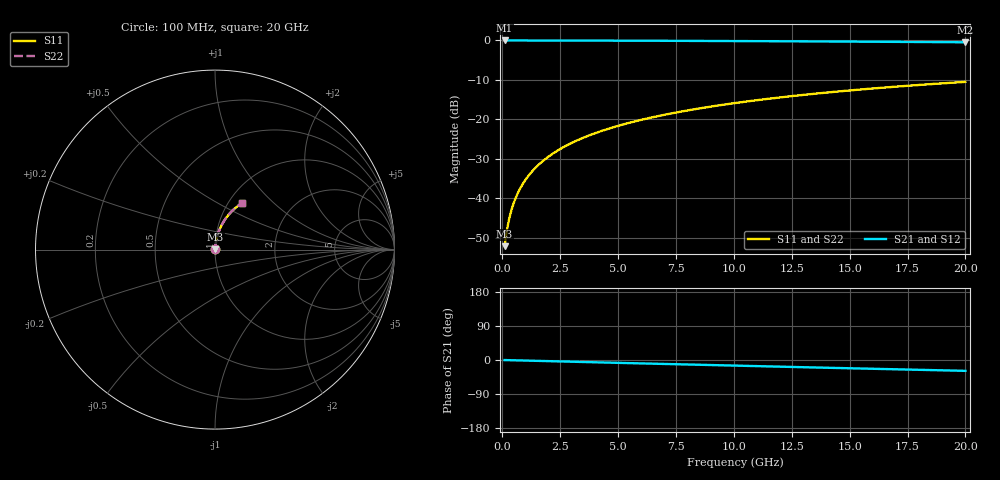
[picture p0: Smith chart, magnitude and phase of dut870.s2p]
! Touchstone file exported from HFSS 2026.1.0
!  File:  C:/ffzhzh/LocalFiles/Ansys_Project_Files/temp_train_TMRDL_870_1783157309_55132.aedt
!  Generated:  05:29:46 PM Jul  4, 2026
!  Design:  TMRDL
!  Project:  temp_train_TMRDL_870_1783157309_55132
! Variables:
!  h_bsmrdl = 2um
!  h_ox = 20um
!  h_rdl = 5um
!  h_sub = 80um
!  h_tmrdl = 4.75um
!  h_tsv = 80um
!  h_via = 3um
!  l_bsmrdl = 300um
!  l_sub = 778.73um
!  l_tmrdl = 378.73um
!  m_sub = 200um
!  pitch = 48.54um
!  r_tsv = 6um
!  s_tmrdl = 10um
!  w_bsmrdl = 18um
!  w_sub = 500um
!  w_tmrdl = 18.1um
!  x_tsv_center1 = 387.78um
!  x_tsv_center2 = 705.78um
!  x_tsv_center3 = 1102.61um
!  x_tsv_center4 = 1420.61um
!  x_tsv_center5 = 1817.44um
!  x_tsv_center6 = 2135.44um
# GHz S MA R 50.000000
! Terminal data exported
! Port[1] = TM_RDL1_1_T1
! Port[2] = TM_RDL1_1_T2
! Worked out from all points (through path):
!   200 points, 100 MHz to 20 GHz, reference 50 ohm
!   highest |S21| = -0.01 dB at 100 MHz (marker M1); lowest = -0.5 dB at 20 GHz (marker M2)
!   group delay of S21, straight-line fit = 3.97 ps
!   lowest |S11| = -52.2 dB at 100 MHz (marker M3), VSWR 1.00, Z = 50.2 + j0.179 ohm
!   |S11| at or under -10 dB: start of sweep to end of sweep
!   |S22| runs from -52.2 to -10.5 dB; largest |S21 - S12| = 3.5e-15
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0.1  0.002466 46.4  0.9983 -0.2  0.9983 -0.2  0.002466 46.4
! Gamma 0 0 0 0
! Port Impedance 50 0 50 0
0.2  0.003948 63.0  0.9982 -0.3  0.9982 -0.3  0.003948 63.0
0.3  0.00554 70.1  0.9981 -0.5  0.9981 -0.5  0.00554 70.1
0.4  0.00716 74.1  0.9981 -0.6  0.9981 -0.6  0.00716 74.1
0.5  0.008794 76.5  0.998 -0.8  0.998 -0.8  0.008794 76.5
0.6  0.01044 78.2  0.998 -0.9  0.998 -0.9  0.01044 78.2
0.8  0.01375 80.3  0.9979 -1.2  0.9979 -1.2  0.01375 80.3
1.1  0.01874 81.9  0.9977 -1.7  0.9977 -1.7  0.01874 81.9
1.5  0.02541 82.7  0.9975 -2.3  0.9975 -2.3  0.02541 82.7
1.8  0.0304 82.9  0.9972 -2.7  0.9972 -2.7  0.0304 82.9
2.1  0.03539 82.8  0.9969 -3.2  0.9969 -3.2  0.03539 82.8
2.7  0.0453 82.5  0.9963 -4.1  0.9963 -4.1  0.0453 82.5
3.5  0.0584 81.7  0.9952 -5.3  0.9952 -5.3  0.0584 81.7
4.2  0.06974 80.8  0.9941 -6.3  0.9941 -6.3  0.06974 80.8
5  0.08257 79.8  0.9928 -7.5  0.9928 -7.5  0.08257 79.8
5.9  0.09685 78.6  0.9911 -8.8  0.9911 -8.8  0.09685 78.7
6.8  0.111 77.5  0.9892 -10.2  0.9892 -10.2  0.111 77.5
8.3  0.1341 75.4  0.9858 -12.3  0.9858 -12.3  0.1341 75.5
10.1  0.1614 73.0  0.9812 -14.9  0.9812 -14.9  0.1614 73.0
13.4  0.2096 68.6  0.9712 -19.6  0.9712 -19.6  0.2096 68.6
16.7  0.2554 64.2  0.9597 -24.2  0.9597 -24.2  0.2554 64.2
20  0.2982 59.9  0.9468 -28.6  0.9468 -28.6  0.2982 59.9
